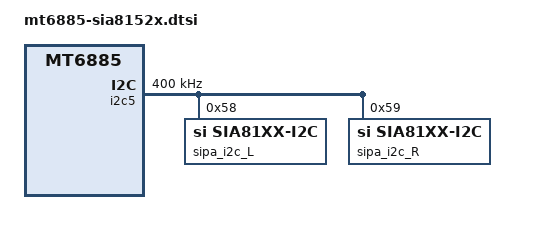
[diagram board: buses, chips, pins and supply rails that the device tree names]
/* Copyright (c) 2018, The Linux Foundation. All rights reserved.
 *
 * This program is free software; you can redistribute it and/or modify
 * it under the terms of the GNU General Public License version 2 and
 * only version 2 as published by the Free Software Foundation.
 *
 * This program is distributed in the hope that it will be useful,
 * but WITHOUT ANY WARRANTY; without even the implied warranty of
 * MERCHANTABILITY or FITNESS FOR A PARTICULAR PURPOSE.  See the
 * GNU General Public License for more details.
 */

&odm {
	si_pa_L: si_pa_L {
		compatible = "si,sia81xx";
		si,si_pa_type = "sia8152x";
		si,si_pa_disable_pin = <1>;
		channel_num = <0>;
	};
        si_pa_R: si_pa_R {
		compatible = "si,sia81xx";
		si,si_pa_type = "sia8152x";
		si,si_pa_disable_pin = <1>;
		channel_num = <1>;
	};
};

&sound {
	si,sia81xx-max-num = <2>;
	si,sia81xx-aux-devs = <&si_pa_L>,<&si_pa_R>;
	si,sia81xx-aux-devs-prefix = "SpkrLeft","SpkrRight";
};

&i2c5 {
	clock-frequency = <400000>;
	mediatek,use-open-drain;

	sipa_i2c_L: sipa_i2c@58 {
		compatible = "si,sia81xx-i2c";
		reg = <0x58>;
		si,sipa-dev = <&si_pa_L>;
	};
        sipa_i2c_R: sipa_i2c@59 {
		compatible = "si,sia81xx-i2c";
		reg = <0x59>;
		si,sipa-dev = <&si_pa_R>;
	};
};
